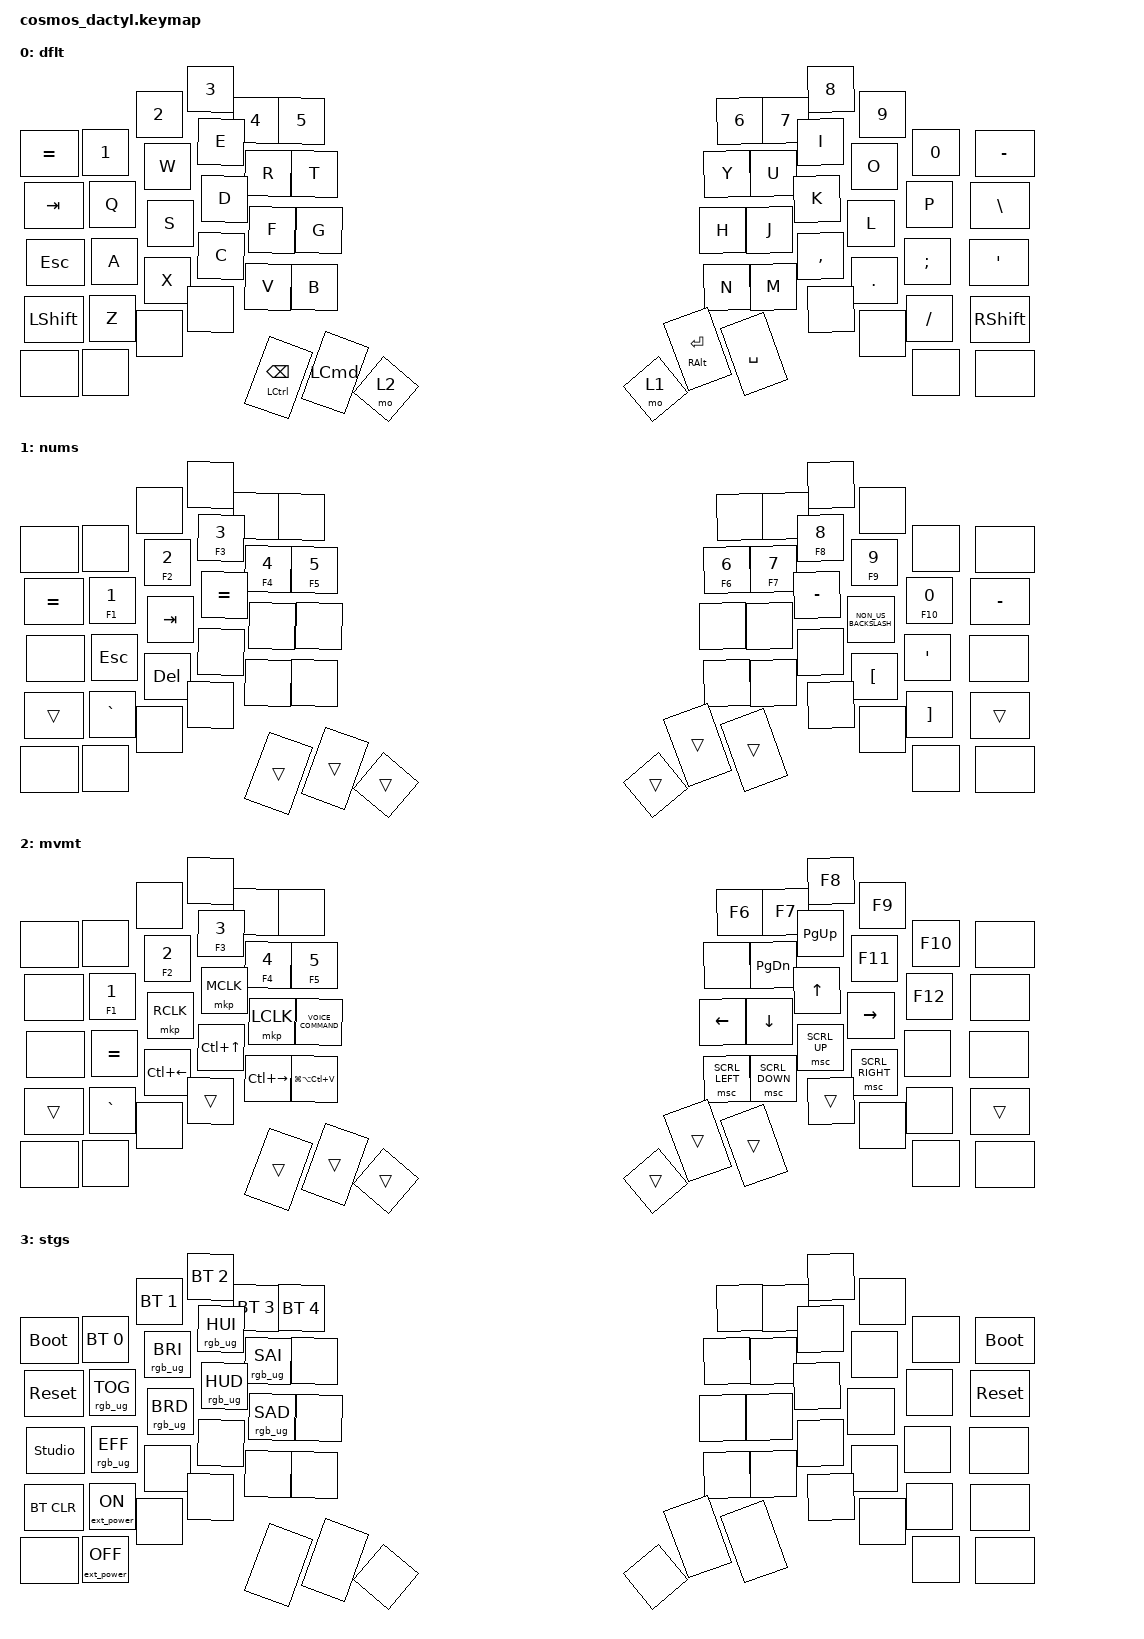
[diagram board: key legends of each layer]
/*
 * Copyright (c) 2020 The ZMK Contributors
 *
 * SPDX-License-Identifier: MIT
 */

#include <behaviors.dtsi>
#include <dt-bindings/zmk/bt.h>
#include <dt-bindings/zmk/ext_power.h>
#include <dt-bindings/zmk/keys.h>
#include <dt-bindings/zmk/pointing.h>
#include <dt-bindings/zmk/rgb.h>

#define BASE 0
#define LOWER 1
#define RAISE 2

/ {
    behaviors {
        mod_tap_or_repeat: mod_tap_or_repeat {
            compatible = "zmk,behavior-hold-tap";
            label = "MOD_TAP_OR_REPEAT";
            bindings = <&kp>, <&kp>;

            #binding-cells = <2>;
            tapping-term-ms = <200>;
            quick-tap-ms = <150>;
        };

        custom_mod_tap: custom_mod_tap {
            compatible = "zmk,behavior-hold-tap";
            label = "CUSTOM_MOD_TAP";
            bindings = <&kp>, <&kp>;

            #binding-cells = <2>;
            tapping-term-ms = <150>;
            flavor = "tap-preferred";
        };
    };

    keymap {
        compatible = "zmk,keymap";

        default_layer {
            display-name = "dflt";
            bindings = <
&kp EQUAL                           &kp N1            &kp N2  &kp N3  &kp N4  &kp N5  &kp N6  &kp N7  &kp N8     &kp N9   &kp N0                           &kp MINUS
&kp TAB                             &kp Q             &kp W   &kp E   &kp R   &kp T   &kp Y   &kp U   &kp I      &kp O    &kp P                            &kp BACKSLASH
&kp ESCAPE                          &kp A             &kp S   &kp D   &kp F   &kp G   &kp H   &kp J   &kp K      &kp L    &kp SEMI                         &kp SQT
&kp LSHFT                           &kp Z             &kp X   &kp C   &kp V   &kp B   &kp N   &kp M   &kp COMMA  &kp DOT  &kp FSLH                         &kp RSHFT
&none                               &none             &none   &none                                   &none      &none    &none                            &none
&mod_tap_or_repeat LCTRL BACKSPACE  &kp LEFT_COMMAND  &mo 2                                                      &mo 1    &custom_mod_tap RIGHT_ALT ENTER  &kp SPACE
            >;
        };

        num_sym {
            display-name = "nums";
            bindings = <
&none      &none            &none            &none            &none            &none      &none            &none      &none      &none                 &none              &none
&kp EQUAL  &mt F1 NUMBER_1  &mt F2 NUMBER_2  &mt F3 NUMBER_3  &mt F4 NUMBER_4  &mt F5 N5  &mt F6 NUMBER_6  &mt F7 N7  &mt F8 N8  &mt F9 N9             &mt F10 N0         &kp MINUS
&none      &kp ESCAPE       &kp TAB          &kp EQUAL        &none            &none      &none            &none      &kp MINUS  &kp NON_US_BACKSLASH  &kp SQT            &none
&trans     &kp GRAVE        &kp DELETE       &none            &none            &none      &none            &none      &none      &kp LEFT_BRACKET      &kp RIGHT_BRACKET  &trans
&none      &none            &none            &none                                                                    &none      &none                 &none              &none
&trans     &trans           &trans                                                                                               &trans                &trans             &trans
            >;
        };

        movement {
            display-name = "mvmt";
            bindings = <
&none   &none            &none               &none            &none            &none                &kp F6          &kp F7          &kp F8        &kp F9           &kp F10  &none
&none   &mt F1 NUMBER_1  &mt F2 NUMBER_2     &mt F3 NUMBER_3  &mt F4 NUMBER_4  &mt F5 N5            &none           &kp PAGE_DOWN   &kp PAGE_UP   &kp F11          &kp F12  &none
&none   &kp EQUAL        &mkp RCLK           &mkp MCLK        &mkp LCLK        &kp C_VOICE_COMMAND  &kp LEFT_ARROW  &kp DOWN        &kp UP_ARROW  &kp RIGHT_ARROW  &none    &none
&trans  &kp GRAVE        &kp LC(LEFT_ARROW)  &kp LC(UP)       &kp LC(RIGHT)    &kp LG(LA(LC(V)))    &msc SCRL_LEFT  &msc SCRL_DOWN  &msc SCRL_UP  &msc SCRL_RIGHT  &none    &trans
&none   &none            &none               &trans                                                                                 &trans        &none            &none    &none
&trans  &trans           &trans                                                                                                                   &trans           &trans   &trans
            >;
        };

        settings {
            display-name = "stgs";
            bindings = <
&bootloader     &bt BT_SEL 0       &bt BT_SEL 1     &bt BT_SEL 2     &bt BT_SEL 3     &bt BT_SEL 4  &none  &none  &none  &none  &none  &bootloader
&sys_reset      &rgb_ug RGB_TOG    &rgb_ug RGB_BRI  &rgb_ug RGB_HUI  &rgb_ug RGB_SAI  &none         &none  &none  &none  &none  &none  &sys_reset
&studio_unlock  &rgb_ug RGB_EFF    &rgb_ug RGB_BRD  &rgb_ug RGB_HUD  &rgb_ug RGB_SAD  &none         &none  &none  &none  &none  &none  &none
&bt BT_CLR      &ext_power EP_ON   &none            &none            &none            &none         &none  &none  &none  &none  &none  &none
&none           &ext_power EP_OFF  &none            &none                                                         &none  &none  &none  &none
&none           &none              &none                                                                                 &none  &none  &none
            >;
        };
    };

    conditional_layers {
        compatible = "zmk,conditional-layers";

        settings_on_both_layers {
            if-layers = <1 2>;
            then-layer = <3>;
        };
    };
};
